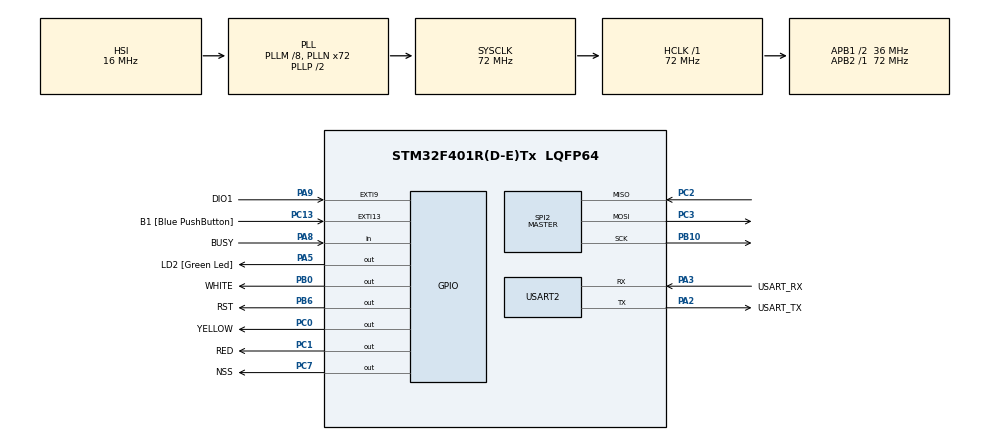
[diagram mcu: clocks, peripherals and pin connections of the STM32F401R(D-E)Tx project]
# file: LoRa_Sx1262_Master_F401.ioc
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Mcu.Family=STM32F4
Mcu.Name=STM32F401R(D-E)Tx
Mcu.Package=LQFP64
NVIC.EXTI9_5_IRQn=true\:0\:0\:false\:false\:true\:true\:true\:true
NVIC.PriorityGroup=NVIC_PRIORITYGROUP_0
PA13.GPIO_Label=TMS
PA13.Mode=Serial_Wire
PA13.Signal=SYS_JTMS-SWDIO
PA14.GPIO_Label=TCK
PA14.Mode=Serial_Wire
PA14.Signal=SYS_JTCK-SWCLK
PA2.GPIO_Label=USART_TX
PA2.GPIO_Mode=GPIO_MODE_AF_PP
PA2.GPIO_PuPd=GPIO_NOPULL
PA2.GPIO_Speed=GPIO_SPEED_FREQ_LOW
PA2.Mode=Asynchronous
PA2.Signal=USART2_TX
PA3.GPIO_Label=USART_RX
PA3.GPIO_Mode=GPIO_MODE_AF_PP
PA3.GPIO_PuPd=GPIO_NOPULL
PA3.GPIO_Speed=GPIO_SPEED_FREQ_LOW
PA3.Mode=Asynchronous
PA3.Signal=USART2_RX
PA5.GPIO_Label=LD2 [Green Led]
PA5.GPIO_Mode=GPIO_MODE_OUTPUT_PP
PA5.GPIO_PuPd=GPIO_NOPULL
PA5.GPIO_Speed=GPIO_SPEED_FREQ_LOW
PA5.Signal=GPIO_Output
PA8.GPIO_Label=BUSY
PA8.Signal=GPIO_Input
PA9.GPIO_Label=DIO1
PA9.Signal=GPXTI9
PB0.GPIO_Label=WHITE
PB0.Signal=GPIO_Output
PB10.Mode=Full_Duplex_Master
PB10.Signal=SPI2_SCK
PB3.GPIO_Label=SWO
PB3.Signal=SYS_JTDO-SWO
PB6.GPIO_Label=RST
PB6.PinState=GPIO_PIN_SET
PB6.Signal=GPIO_Output
PC0.GPIO_Label=YELLOW
PC0.Signal=GPIO_Output
PC1.GPIO_Label=RED
PC1.Signal=GPIO_Output
PC13-ANTI_TAMP.GPIO_Label=B1 [Blue PushButton]
PC13-ANTI_TAMP.GPIO_ModeDefaultEXTI=GPIO_MODE_IT_FALLING
PC13-ANTI_TAMP.GPIO_PuPd=GPIO_NOPULL
PC13-ANTI_TAMP.Signal=GPXTI13
PC2.Mode=Full_Duplex_Master
PC2.Signal=SPI2_MISO
PC3.Mode=Full_Duplex_Master
PC3.Signal=SPI2_MOSI
PC7.GPIO_Label=NSS
PC7.PinState=GPIO_PIN_SET
PC7.Signal=GPIO_Output
ProjectManager.HeapSize=0x200
ProjectManager.StackSize=0x400
ProjectManager.TargetToolchain=STM32CubeIDE
RCC.48MHZClocksFreq_Value=20571428.57142857
RCC.AHBFreq_Value=72000000
RCC.APB1CLKDivider=RCC_HCLK_DIV2
RCC.APB1Freq_Value=36000000
RCC.APB1TimFreq_Value=72000000
RCC.APB2Freq_Value=72000000
RCC.APB2TimFreq_Value=72000000
RCC.CortexFreq_Value=72000000
RCC.HCLKFreq_Value=72000000
RCC.HSE_VALUE=8000000
RCC.HSI_VALUE=16000000
RCC.LSE_VALUE=32768
RCC.PLLM=8
RCC.PLLN=72
RCC.PLLQ=7
RCC.SYSCLKFreq_VALUE=72000000
RCC.SYSCLKSource=RCC_SYSCLKSOURCE_PLLCLK
RCC.VCOOutputFreq_Value=144000000
SPI2.BaudRatePrescaler=SPI_BAUDRATEPRESCALER_8
SPI2.Direction=SPI_DIRECTION_2LINES
SPI2.Mode=SPI_MODE_MASTER
SPI2.VirtualType=VM_MASTER
USART2.VirtualMode=VM_ASYNC
board=NUCLEO-F401RE

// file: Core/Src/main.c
/* USER CODE BEGIN Header */
/**
  ******************************************************************************
  * @file           : main.c
  * @brief          : Main program body
  ******************************************************************************
  * @attention
  *
  * Copyright (c) 2024 STMicroelectronics.
  * All rights reserved.
  *
  * This software is licensed under terms that can be found in the LICENSE file
  * in the root directory of this software component.
  * If no LICENSE file comes with this software, it is provided AS-IS.
  *
  ******************************************************************************
  */
/* USER CODE END Header */
#include "main.h"

/* USER CODE BEGIN Includes */
#include "sx126x.h"
#include "sx126x_hal.h"
#include "sx1262_B_common.h"
#include <stdio.h>
/* USER CODE END Includes */

/* USER CODE BEGIN PTD */

LoRaConfig LoRa;

uint8_t txdata[10];
uint8_t rxdata[10];
static volatile bool irq_fired = false;
static sx126x_pkt_type_t pkt_type ;
static sx126x_chip_status_t radio_status;
static sx126x_stats_lora_t stats;
static sx126x_errors_mask_t errors;
/* USER CODE END PTD */

SPI_HandleTypeDef hspi2;

UART_HandleTypeDef huart2;

void SystemClock_Config(void);
static void MX_GPIO_Init(void);
static void MX_USART2_UART_Init(void);
static void MX_SPI2_Init(void);

int main(void)
{

  /* MCU Configuration--------------------------------------------------------*/

  /* Reset of all peripherals, Initializes the Flash interface and the Systick. */
  HAL_Init();

  /* Configure the system clock */
  SystemClock_Config();

  /* Initialize all configured peripherals */
  MX_GPIO_Init();
  MX_USART2_UART_Init();
  MX_SPI2_Init();
  /* USER CODE BEGIN 2 */

  /****************************LoRa Module Initialization *******************************/
  printf("Master APPLICATION\n\r");
  init_LoRa_parm();
  sx126x_clear_device_errors( &LoRa);
  sx126x_init(&LoRa );
  Radio_init(&LoRa);
  sx126x_clear_irq_status( &LoRa, SX126X_IRQ_ALL );
  sx126x_set_dio_irq_params(
		  &LoRa, SX126X_IRQ_ALL,
          SX126X_IRQ_TX_DONE | SX126X_IRQ_RX_DONE,
          SX126X_IRQ_NONE, SX126X_IRQ_NONE );

      sx126x_clear_irq_status( &LoRa, SX126X_IRQ_ALL );
  /****************************LoRa Module Initialization END *******************************/
      sx126x_get_pkt_type( &LoRa, &pkt_type );
      sx126x_get_status( &LoRa, &radio_status );
      sx126x_get_lora_stats( &LoRa, &stats );
      sx126x_get_device_errors( &LoRa, &errors);

      HAL_Delay(5000);
      sx126x_get_device_errors( &LoRa, &errors);
      sx126x_set_rx( &LoRa, 0);

  /* USER CODE END 2 */

  /* Infinite loop */
  while (1)
  {

    /* USER CODE BEGIN 3 */
	  apps_common_sx126x_irq_process(&LoRa);
  }
  /* USER CODE END 3 */
}

void SystemClock_Config(void)
{
  RCC_OscInitTypeDef RCC_OscInitStruct = {0};
  RCC_ClkInitTypeDef RCC_ClkInitStruct = {0};

  /** Configure the main internal regulator output voltage
  */
  __HAL_RCC_PWR_CLK_ENABLE();
  __HAL_PWR_VOLTAGESCALING_CONFIG(PWR_REGULATOR_VOLTAGE_SCALE2);

  /** Initializes the RCC Oscillators according to the specified parameters
  * in the RCC_OscInitTypeDef structure.
  */
  RCC_OscInitStruct.OscillatorType = RCC_OSCILLATORTYPE_HSI;
  RCC_OscInitStruct.HSIState = RCC_HSI_ON;
  RCC_OscInitStruct.HSICalibrationValue = RCC_HSICALIBRATION_DEFAULT;
  RCC_OscInitStruct.PLL.PLLState = RCC_PLL_ON;
  RCC_OscInitStruct.PLL.PLLSource = RCC_PLLSOURCE_HSI;
  RCC_OscInitStruct.PLL.PLLM = 8;
  RCC_OscInitStruct.PLL.PLLN = 72;
  RCC_OscInitStruct.PLL.PLLP = RCC_PLLP_DIV2;
  RCC_OscInitStruct.PLL.PLLQ = 7;
  if (HAL_RCC_OscConfig(&RCC_OscInitStruct) != HAL_OK)
  {
    Error_Handler();
  }

  /** Initializes the CPU, AHB and APB buses clocks
  */
  RCC_ClkInitStruct.ClockType = RCC_CLOCKTYPE_HCLK|RCC_CLOCKTYPE_SYSCLK
                              |RCC_CLOCKTYPE_PCLK1|RCC_CLOCKTYPE_PCLK2;
  RCC_ClkInitStruct.SYSCLKSource = RCC_SYSCLKSOURCE_PLLCLK;
  RCC_ClkInitStruct.AHBCLKDivider = RCC_SYSCLK_DIV1;
  RCC_ClkInitStruct.APB1CLKDivider = RCC_HCLK_DIV2;
  RCC_ClkInitStruct.APB2CLKDivider = RCC_HCLK_DIV1;

  if (HAL_RCC_ClockConfig(&RCC_ClkInitStruct, FLASH_LATENCY_2) != HAL_OK)
  {
    Error_Handler();
  }
}

static void MX_SPI2_Init(void)
{

  /* SPI2 parameter configuration*/
  hspi2.Instance = SPI2;
  hspi2.Init.Mode = SPI_MODE_MASTER;
  hspi2.Init.Direction = SPI_DIRECTION_2LINES;
  hspi2.Init.DataSize = SPI_DATASIZE_8BIT;
  hspi2.Init.CLKPolarity = SPI_POLARITY_LOW;
  hspi2.Init.CLKPhase = SPI_PHASE_1EDGE;
  hspi2.Init.NSS = SPI_NSS_SOFT;
  hspi2.Init.BaudRatePrescaler = SPI_BAUDRATEPRESCALER_8;
  hspi2.Init.FirstBit = SPI_FIRSTBIT_MSB;
  hspi2.Init.TIMode = SPI_TIMODE_DISABLE;
  hspi2.Init.CRCCalculation = SPI_CRCCALCULATION_DISABLE;
  hspi2.Init.CRCPolynomial = 10;
  if (HAL_SPI_Init(&hspi2) != HAL_OK)
  {
    Error_Handler();
  }

}

static void MX_USART2_UART_Init(void)
{

  huart2.Instance = USART2;
  huart2.Init.BaudRate = 115200;
  huart2.Init.WordLength = UART_WORDLENGTH_8B;
  huart2.Init.StopBits = UART_STOPBITS_1;
  huart2.Init.Parity = UART_PARITY_NONE;
  huart2.Init.Mode = UART_MODE_TX_RX;
  huart2.Init.HwFlowCtl = UART_HWCONTROL_NONE;
  huart2.Init.OverSampling = UART_OVERSAMPLING_16;
  if (HAL_UART_Init(&huart2) != HAL_OK)
  {
    Error_Handler();
  }

}

static void MX_GPIO_Init(void)
{
  GPIO_InitTypeDef GPIO_InitStruct = {0};

  /* GPIO Ports Clock Enable */
  __HAL_RCC_GPIOC_CLK_ENABLE();
  __HAL_RCC_GPIOA_CLK_ENABLE();
  __HAL_RCC_GPIOB_CLK_ENABLE();

  /*Configure GPIO pin Output Level */
  HAL_GPIO_WritePin(GPIOC, YELLOW_Pin|RED_Pin, GPIO_PIN_RESET);

  /*Configure GPIO pin Output Level */
  HAL_GPIO_WritePin(LD2_GPIO_Port, LD2_Pin, GPIO_PIN_RESET);

  /*Configure GPIO pin Output Level */
  HAL_GPIO_WritePin(WHITE_GPIO_Port, WHITE_Pin, GPIO_PIN_RESET);

  /*Configure GPIO pin Output Level */
  HAL_GPIO_WritePin(NSS_GPIO_Port, NSS_Pin, GPIO_PIN_SET);

  /*Configure GPIO pin Output Level */
  HAL_GPIO_WritePin(RST_GPIO_Port, RST_Pin, GPIO_PIN_SET);

  /*Configure GPIO pin : B1_Pin */
  GPIO_InitStruct.Pin = B1_Pin;
  GPIO_InitStruct.Mode = GPIO_MODE_IT_FALLING;
  GPIO_InitStruct.Pull = GPIO_NOPULL;
  HAL_GPIO_Init(B1_GPIO_Port, &GPIO_InitStruct);

  /*Configure GPIO pins : YELLOW_Pin RED_Pin NSS_Pin */
  GPIO_InitStruct.Pin = YELLOW_Pin|RED_Pin|NSS_Pin;
  GPIO_InitStruct.Mode = GPIO_MODE_OUTPUT_PP;
  GPIO_InitStruct.Pull = GPIO_NOPULL;
  GPIO_InitStruct.Speed = GPIO_SPEED_FREQ_LOW;
  HAL_GPIO_Init(GPIOC, &GPIO_InitStruct);

  /*Configure GPIO pin : LD2_Pin */
  GPIO_InitStruct.Pin = LD2_Pin;
  GPIO_InitStruct.Mode = GPIO_MODE_OUTPUT_PP;
  GPIO_InitStruct.Pull = GPIO_NOPULL;
  GPIO_InitStruct.Speed = GPIO_SPEED_FREQ_LOW;
  HAL_GPIO_Init(LD2_GPIO_Port, &GPIO_InitStruct);

  /*Configure GPIO pins : WHITE_Pin RST_Pin */
  GPIO_InitStruct.Pin = WHITE_Pin|RST_Pin;
  GPIO_InitStruct.Mode = GPIO_MODE_OUTPUT_PP;
  GPIO_InitStruct.Pull = GPIO_NOPULL;
  GPIO_InitStruct.Speed = GPIO_SPEED_FREQ_LOW;
  HAL_GPIO_Init(GPIOB, &GPIO_InitStruct);

  /*Configure GPIO pin : BUSY_Pin */
  GPIO_InitStruct.Pin = BUSY_Pin;
  GPIO_InitStruct.Mode = GPIO_MODE_INPUT;
  GPIO_InitStruct.Pull = GPIO_NOPULL;
  HAL_GPIO_Init(BUSY_GPIO_Port, &GPIO_InitStruct);

  /*Configure GPIO pin : DIO1_Pin */
  GPIO_InitStruct.Pin = DIO1_Pin;
  GPIO_InitStruct.Mode = GPIO_MODE_IT_RISING;
  GPIO_InitStruct.Pull = GPIO_NOPULL;
  HAL_GPIO_Init(DIO1_GPIO_Port, &GPIO_InitStruct);

  /* EXTI interrupt init*/
  HAL_NVIC_SetPriority(EXTI9_5_IRQn, 0, 0);
  HAL_NVIC_EnableIRQ(EXTI9_5_IRQn);

}

/* USER CODE BEGIN 4 */

void init_LoRa_parm(void)
{
	txdata[0] = 'M';
	txdata[1] = 'L';
	txdata[2] = 'o';
	txdata[3] = 'R';
	txdata[4] = 'a';

	LoRa.BUSY_port = BUSY_GPIO_Port;
	LoRa.BUSY_pin  = BUSY_Pin;
	LoRa.NSS_port  = NSS_GPIO_Port;
	LoRa.NSS_pin   = NSS_Pin;
	LoRa.RST_port  = RST_GPIO_Port;
	LoRa.RST_pin   = RST_Pin;
	LoRa.DIO1_port = DIO1_GPIO_Port;
	LoRa.DIO1_pin  = DIO1_Pin;

	LoRa.hSPIx     = &hspi2;
}

void HAL_GPIO_EXTI_Callback(uint16_t GPIO_Pin)
{
  if(GPIO_Pin == LoRa.DIO1_pin)
  {
	  irq_fired = true;
  }
}

int _write(int file, char *ptr, int len)
{
  (void)file;
  HAL_UART_Transmit(&huart2, (uint8_t*)ptr, len, HAL_MAX_DELAY);
  return len;
}
void apps_common_sx126x_irq_process( const void* context )
{
    if( irq_fired == true )
    {
        irq_fired = false;

        sx126x_irq_mask_t irq_regs;
        sx126x_get_and_clear_irq_status( context, &irq_regs );

        if( ( irq_regs & SX126X_IRQ_TX_DONE ) == SX126X_IRQ_TX_DONE )
        {
            printf( "Tx done\n\r" );
            //on_tx_done( );
        }

        if( ( irq_regs & SX126X_IRQ_RX_DONE ) == SX126X_IRQ_RX_DONE )
        {
        	printf( "Rx done\n\r" );
            sx126x_handle_rx_done( context );
            on_rx_done( );

        }

        if( ( irq_regs & SX126X_IRQ_PREAMBLE_DETECTED ) == SX126X_IRQ_PREAMBLE_DETECTED )
        {
        	printf( "Preamble detected\n\r" );
            //on_preamble_detected( );
        }

        if( ( irq_regs & SX126X_IRQ_SYNC_WORD_VALID ) == SX126X_IRQ_SYNC_WORD_VALID )
        {
        	printf( "Syncword valid\n\r" );
            //on_syncword_valid( );
        }

        if( ( irq_regs & SX126X_IRQ_HEADER_VALID ) == SX126X_IRQ_HEADER_VALID )
        {
        	printf( "Header valid\n\r" );
            //on_header_valid( );
        }

        if( ( irq_regs & SX126X_IRQ_HEADER_ERROR ) == SX126X_IRQ_HEADER_ERROR )
        {
        	printf( "Header error\n\r" );
            //on_header_error( );
        }

        if( ( irq_regs & SX126X_IRQ_CRC_ERROR ) == SX126X_IRQ_CRC_ERROR )
        {
        	printf( "CRC error\n\r" );
            //on_crc_error( );
        }

        if( ( irq_regs & SX126X_IRQ_CAD_DONE ) == SX126X_IRQ_CAD_DONE )
        {
        	printf( "CAD done\n\r" );
            if( ( irq_regs & SX126X_IRQ_CAD_DETECTED ) == SX126X_IRQ_CAD_DETECTED )
            {
            	printf( "Channel activity detected\n\r" );
                //on_cad_done_detected( );
            }
            else
            {
            	printf( "No channel activity detected\n\r" );
                //on_cad_done_undetected( );
            }
        }

        if( ( irq_regs & SX126X_IRQ_TIMEOUT ) == SX126X_IRQ_TIMEOUT )
        {
        	printf( "Rx timeout\n\r" );
            //on_rx_timeout( );
        }

        if( ( irq_regs & SX126X_IRQ_LR_FHSS_HOP ) == SX126X_IRQ_LR_FHSS_HOP )
        {
        	printf( "FHSS hop done\n\r" );
            //on_fhss_hop_done( );
        }
    }
}
void on_rx_done(void)
{
	sx126x_rx_buffer_status_t rx_buffer_status;
	char received[10];
	int n;

	sx126x_get_rx_buffer_status( &LoRa, &rx_buffer_status );
	sx126x_read_buffer( &LoRa, 0, (uint8_t*)received, rx_buffer_status.pld_len_in_bytes );
	rxdata[rx_buffer_status.pld_len_in_bytes] = '\0';
	printf("%s\n\r",received);
	sx126x_set_rx( &LoRa, 0);
	sscanf(&received[4],"%d",&n);
	UpdateLed(n);

}

void UpdateLed(int Number)
{
	switch(Number)
	{

	case 1:
		//1 on and 2-3 off
		HAL_GPIO_WritePin(RED_GPIO_Port, RED_Pin, 1);
			HAL_GPIO_WritePin(YELLOW_GPIO_Port, YELLOW_Pin, 0);
			HAL_GPIO_WritePin(WHITE_GPIO_Port, WHITE_Pin, 0);
	break;
	case 2:
		//2 on and 1-3 off
			HAL_GPIO_WritePin(RED_GPIO_Port, RED_Pin, 0);
		HAL_GPIO_WritePin(YELLOW_GPIO_Port, YELLOW_Pin, 1);
			HAL_GPIO_WritePin(WHITE_GPIO_Port, WHITE_Pin, 0);
	break;
	case 3:
		//3 on and 1-2 off
			HAL_GPIO_WritePin(RED_GPIO_Port, RED_Pin, 0);
			HAL_GPIO_WritePin(YELLOW_GPIO_Port, YELLOW_Pin, 0);
		HAL_GPIO_WritePin(WHITE_GPIO_Port, WHITE_Pin, 1);
	case 0:
	default:
			//ALL off
			HAL_GPIO_WritePin(RED_GPIO_Port, RED_Pin, 0);
			HAL_GPIO_WritePin(YELLOW_GPIO_Port, YELLOW_Pin, 0);
			HAL_GPIO_WritePin(WHITE_GPIO_Port, WHITE_Pin, 0);
		break;
	}
}
/* USER CODE END 4 */

void Error_Handler(void)
{
  __disable_irq();
  while (1)
  {
  }
}
